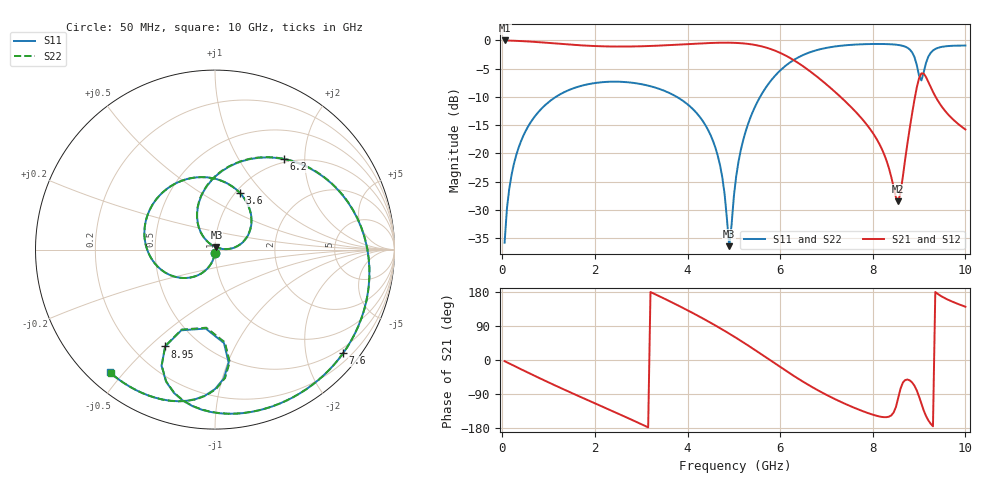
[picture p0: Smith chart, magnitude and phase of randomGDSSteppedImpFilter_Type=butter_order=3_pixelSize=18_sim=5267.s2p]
! freq	dB(S11)	phase(S11)	dB(S12)	phase(S12)
!  dB(S21)	phase(S21)	dB(S22)	phase(S22)
!S-par simulation data
#  GHz  S  DB  R 50
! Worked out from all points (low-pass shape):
!   200 points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, 50 MHz to 10 GHz, reference 50 ohm
!   highest |S21| = 0.00 dB at 50 MHz (marker M1); lowest = -28.5 dB at 8.55 GHz (marker M2)
!   |S21| within 3 dB of the highest: start of sweep to 6.193 GHz
!   lowest |S11| = -36.4 dB at 4.9 GHz (marker M3), VSWR 1.03, Z = 50.8 + j1.32 ohm
!   |S11| at or under -10 dB: start of sweep to 1.153 GHz; 3.771 GHz to 5.566 GHz (1.795 GHz wide, 38.4 % of centre)
!   |S22| runs from -36.4 to -0.6 dB; largest |S21 - S12| = 0
!   S11 on the Smith chart (normalised r, x): 50 MHz: 1.00, -0.03; 3.6 GHz: 1.05, +0.75; 6.2 GHz: 0.94, +1.59; 7.6 GHz: 0.38, -2.78; 8.95 GHz: 0.33, -0.56; 10 GHz: 0.06, -0.46
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0.05  -35.76 -92.9  -0.00 -3.1  -0.00 -3.1  -35.76 -92.9
0.2  -23.77 -102.3  -0.04 -12.1  -0.04 -12.1  -23.77 -102.3
0.5  -16.09 -120.6  -0.15 -30.1  -0.15 -30.1  -16.09 -120.6
1.1  -10.29 -155.4  -0.51 -64.8  -0.51 -64.8  -10.29 -155.3
1.75  -7.93 168.5  -0.89 -100.8  -0.89 -100.8  -7.94 168.7
2.65  -7.36 119.8  -1.08 -149.7  -1.08 -149.7  -7.36 120.0
3.4  -8.60 77.6  -0.91 167.8  -0.91 167.8  -8.60 77.9
3.6  -9.27 66.0  -0.83 155.9  -0.83 155.9  -9.27 66.2
4.55  -17.78 9.0  -0.44 94.7  -0.44 94.7  -17.78 9.4
4.75  -24.18 2.0  -0.40 80.6  -0.40 80.6  -24.18 2.5
4.9  -36.39 58.9  -0.40 69.7  -0.40 69.7  -36.36 59.2
5.05  -24.08 133.2  -0.44 58.4  -0.44 58.4  -24.09 133.5
5.6  -9.52 100.6  -1.05 14.7  -1.05 14.7  -9.52 100.9
6.2  -3.97 52.8  -3.04 -34.5  -3.04 -34.5  -3.97 53.2
6.7  -1.93 15.7  -5.80 -72.1  -5.80 -72.1  -1.94 16.1
7.6  -0.74 -39.0  -12.36 -126.1  -12.36 -126.1  -0.75 -38.7
8.35  -0.66 -77.5  -22.63 -149.5  -22.63 -149.5  -0.66 -77.2
8.55  -0.80 -88.5  -28.45 -100.2  -28.45 -100.2  -0.80 -88.3
8.95  -4.34 -117.2  -8.33 -80.3  -8.33 -80.3  -4.37 -117.3
9.15  -3.96 -83.1  -6.48 -147.9  -6.48 -147.9  -4.00 -82.5
9.4  -1.34 -100.8  -10.58 174.7  -10.58 174.7  -1.34 -100.3
10  -0.91 -130.6  -15.75 140.6  -15.75 140.6  -0.91 -130.3
